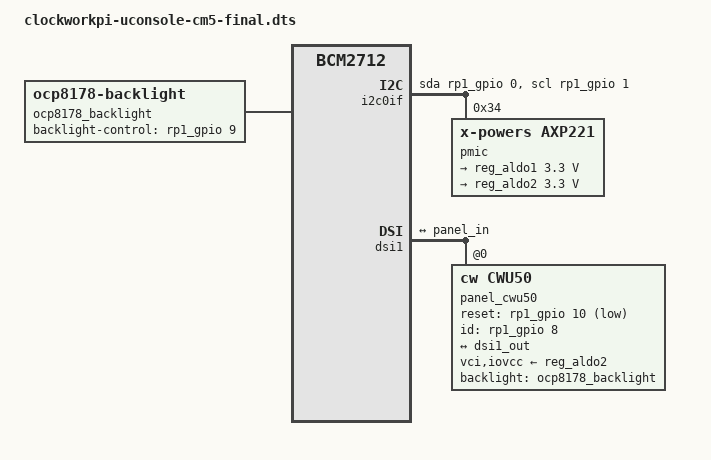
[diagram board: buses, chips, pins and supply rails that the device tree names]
/dts-v1/;
/plugin/;

#include <dt-bindings/gpio/gpio.h>

/ {
	compatible = "brcm,bcm2712";

	/* 1. Disable HDMI to prevent conflict with RP1 DSI */
	fragment@0 {
		target-path = "/soc@107c000000/hdmi@7ef00700";
		__overlay__ { status = "disabled"; };
	};
	fragment@1 {
		target-path = "/soc@107c000000/hdmi@7ef05700";
		__overlay__ { status = "disabled"; };
	};

	/* 2. DSI Display and Panel */
	fragment@2 {
		target = <&dsi1>;
		__overlay__ {
			status = "okay";
			#address-cells = <1>;
			#size-cells = <0>;

			port {
				dsi1_out: endpoint {
					remote-endpoint = <&panel_in>;
				};
			};

			panel_cwu50: panel@0 {
				compatible = "cw,cwu50";
				reg = <0>;
				/* Pin Swap: GPIO 10 is Dummy, GPIO 8 is Real Reset */
				reset-gpio = <&rp1_gpio 10 GPIO_ACTIVE_LOW>;
				id-gpio = <&rp1_gpio 8 GPIO_ACTIVE_HIGH>;
				pinctrl-names = "default";
				pinctrl-0 = <&panel_id_pins>;
				backlight = <&ocp8178_backlight>;
				rotation = <90>;
				vci-supply = <&reg_aldo2>;
				iovcc-supply = <&reg_aldo2>;

				port {
					panel_in: endpoint {
						remote-endpoint = <&dsi1_out>;
					};
				};
			};
		};
	};

	/* 3. GPIO and Pinctrl */
	fragment@3 {
		target = <&rp1_gpio>;
		__overlay__ {
			panel_id_pins: panel_id_pins {
				function = "gpio";
				pins = "gpio8";
				bias-pull-down;
			};
		};
	};

	/* 4. Backlight and PMIC I2C */
	fragment@4 {
		target-path = "/";
		__overlay__ {
			ocp8178_backlight: backlight@0 {
				compatible = "ocp8178-backlight";
				backlight-control-gpios = <&rp1_gpio 9 GPIO_ACTIVE_HIGH>;
				default-brightness = <5>;
				status = "okay";
			};

			i2c0if: i2c0if {
				compatible = "i2c-gpio";
				gpios = <&rp1_gpio 0 (GPIO_ACTIVE_HIGH | 6)>, /* 6 = OPEN_DRAIN */
				        <&rp1_gpio 1 (GPIO_ACTIVE_HIGH | 6)>;
				i2c-gpio,delay-us = <20>;
				#address-cells = <1>;
				#size-cells = <0>;
				status = "okay";

				pmic@34 {
					compatible = "x-powers,axp221", "simple-mfd";
					reg = <0x34>;
					system-power-controller;

					regulators {
						reg_aldo1: aldo1 {
							regulator-name = "audio-vdd";
							regulator-min-microvolt = <3300000>;
							regulator-max-microvolt = <3300000>;
							regulator-always-on;
						};
						reg_aldo2: aldo2 {
							regulator-name = "display-vcc";
							regulator-min-microvolt = <3300000>;
							regulator-max-microvolt = <3300000>;
							regulator-always-on;
						};
					};
				};
			};
		};
	};

	/* 5. Disable SPI10 which conflicts with I2C GPIO 1 */
	fragment@5 {
		target-path = "/soc@107c000000/spi@7d004000";
		__overlay__ { status = "disabled"; };
	};
};
